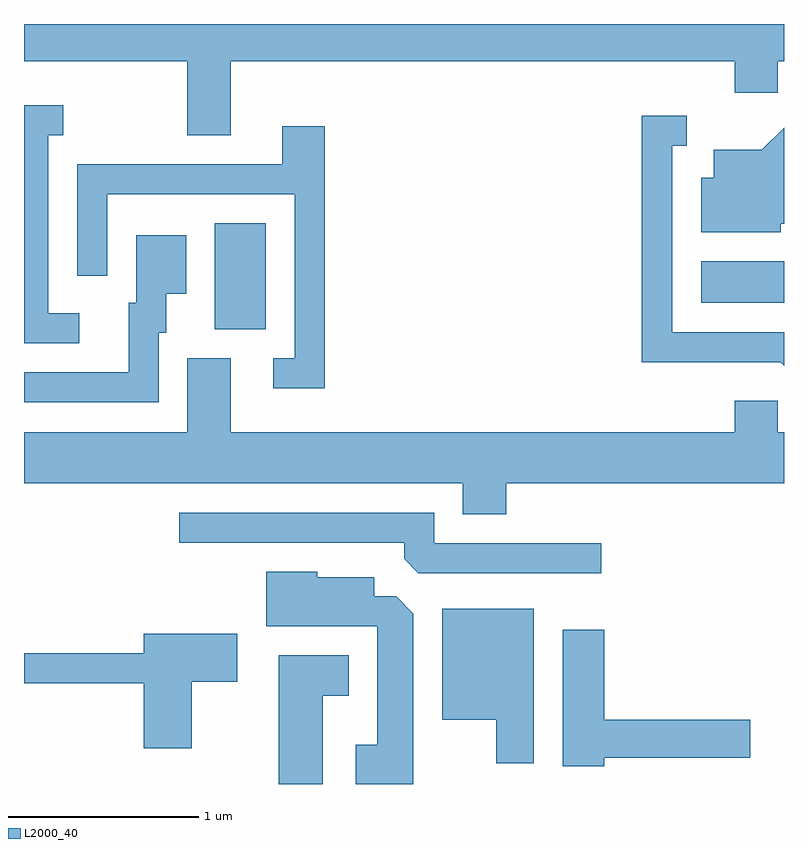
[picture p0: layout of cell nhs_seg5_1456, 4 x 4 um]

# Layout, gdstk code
import gdstk
lib = gdstk.Library(unit=1e-6, precision=1e-09)
def R(c, l, rs):  # rectangles x0, y0, x1, y1
    for r in rs: c.add(gdstk.rectangle(r[:2], r[2:], *l))
def P(c, l, *ps):  # polygons
    for p in ps: c.add(gdstk.Polygon(p, *l))
L2000_40 = (2000, 40)

nhs_seg5_1456 = lib.new_cell('nhs_seg5_1456')
R(nhs_seg5_1456, L2000_40, [(228.616,1486.466,228.884,1487.024), (231.176,1486.606,231.611,1486.824)])
P(nhs_seg5_1456, L2000_40, [(231.351,1487.711),(231.579,1487.711),(231.579,1487.876),(231.611,1487.876),(231.611,1488.072),(227.611,1488.072),(227.611,1487.876),(228.471,1487.876),(228.471,1487.486),(228.699,1487.486),(228.699,1487.876),(231.351,1487.876)],
  [(227.903,1486.549),(227.739,1486.549),(227.739,1487.486),(227.818,1487.486),(227.818,1487.644),(227.611,1487.644),(227.611,1486.391),(227.903,1486.391)],
  [(231.611,1486.449),(231.024,1486.449),(231.024,1487.431),(231.098,1487.431),(231.098,1487.589),(230.861,1487.589),(230.861,1486.291),(231.594,1486.291),(231.611,1486.274)],
  [(229.194,1487.534),(228.971,1487.534),(228.971,1487.334),(227.891,1487.334),(227.891,1486.748),(228.049,1486.748),(228.049,1487.176),(229.036,1487.176),(229.036,1486.314),(228.923,1486.314),(228.923,1486.156),(229.194,1486.156)],
  [(231.594,1487.021),(231.611,1487.021),(231.611,1487.526),(231.494,1487.409),(231.241,1487.409),(231.241,1487.264),(231.176,1487.264),(231.176,1486.976),(231.594,1486.976)],
  [(228.319,1486.446),(228.359,1486.446),(228.359,1486.651),(228.464,1486.651),(228.464,1486.959),(228.201,1486.959),(228.201,1486.604),(228.161,1486.604),(228.161,1486.239),(227.611,1486.239),(227.611,1486.081),(228.319,1486.081)],
  [(230.149,1485.656),(231.611,1485.656),(231.611,1485.924),(231.579,1485.924),(231.579,1486.089),(231.351,1486.089),(231.351,1485.924),(228.699,1485.924),(228.699,1486.314),(228.471,1486.314),(228.471,1485.924),(227.611,1485.924),(227.611,1485.656),(229.921,1485.656),(229.921,1485.491),(230.149,1485.491)],
  [(230.648,1485.339),(229.769,1485.339),(229.769,1485.499),(228.428,1485.499),(228.428,1485.341),(229.611,1485.341),(229.611,1485.257),(229.687,1485.181),(230.648,1485.181)],
  [(229.659,1484.969),(229.569,1485.059),(229.454,1485.059),(229.454,1485.159),(229.154,1485.159),(229.154,1485.189),(228.886,1485.189),(228.886,1484.901),(229.471,1484.901),(229.471,1484.279),(229.356,1484.279),(229.356,1484.072),(229.659,1484.072)],
  [(230.294,1484.994),(229.811,1484.994),(229.811,1484.411),(230.096,1484.411),(230.096,1484.181),(230.294,1484.181)],
  [(230.664,1484.211),(231.434,1484.211),(231.434,1484.409),(230.664,1484.409),(230.664,1484.884),(230.446,1484.884),(230.446,1484.166),(230.664,1484.166)],
  [(228.494,1484.611),(228.734,1484.611),(228.734,1484.864),(228.241,1484.864),(228.241,1484.759),(227.611,1484.759),(227.611,1484.601),(228.241,1484.601),(228.241,1484.261),(228.494,1484.261)],
  [(229.184,1484.536),(229.319,1484.536),(229.319,1484.749),(228.951,1484.749),(228.951,1484.072),(229.184,1484.072)])

lib.write_gds('nhs_seg5_1456.gds')
